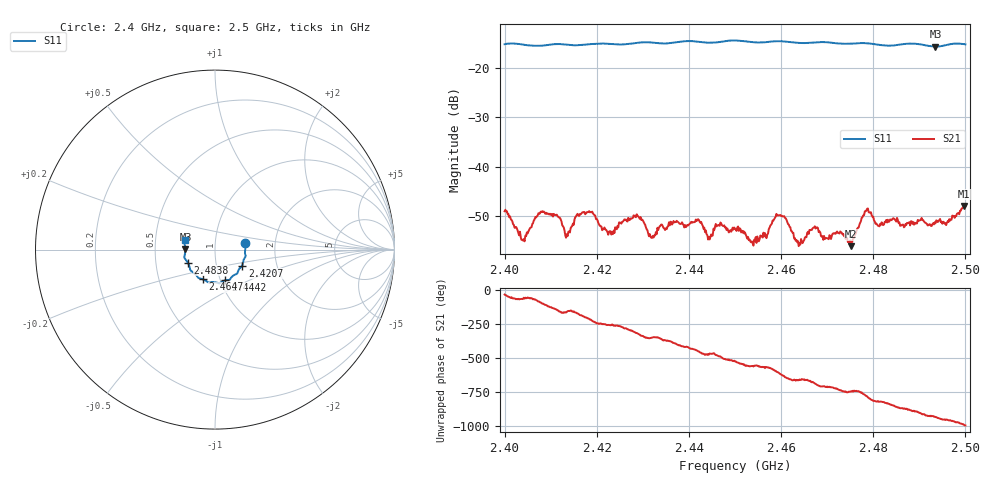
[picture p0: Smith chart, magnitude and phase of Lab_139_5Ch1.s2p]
# Hz S RI R 50
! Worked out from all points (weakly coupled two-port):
!   601 points, 2.4 GHz to 2.5 GHz, reference 50 ohm
!   highest |S21| = -47.98 dB at 2.4997 GHz (marker M1); lowest = -56.1 dB at 2.4752 GHz (marker M2)
!   lowest |S11| = -15.7 dB at 2.4935 GHz (marker M3), VSWR 1.39, Z = 35.9 + j0.135 ohm
!   |S11| at or under -10 dB: start of sweep to end of sweep
!   S12 and S22 are empty: the file has one direction only
!   S11 on the Smith chart (normalised r, x): 2.4 GHz: 1.40, +0.11; 2.4207 GHz: 1.33, -0.24; 2.4442 GHz: 1.06, -0.37; 2.4647 GHz: 0.83, -0.28; 2.4838 GHz: 0.73, -0.11; 2.5 GHz: 0.71, +0.08
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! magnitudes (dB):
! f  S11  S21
! 2.4 GHz  -15.2  -49.0
! 2.404 GHz  -15.3  -55.0
! 2.4078 GHz  -15.5  -49.1
! 2.4137 GHz  -15.3  -54.1
! 2.4167 GHz  -15.3  -49.5
! 2.4207 GHz  -15.1  -52.0
! 2.4285 GHz  -14.9  -50.3
! 2.4333 GHz  -15.0  -52.8
! 2.4418 GHz  -14.7  -50.8
! 2.4442 GHz  -14.9  -54.8
! 2.45 GHz  -14.4  -52.5
! 2.4538 GHz  -14.8  -55.5
! 2.4595 GHz  -14.6  -49.9
! 2.4647 GHz  -15.0  -55.5
! 2.4667 GHz  -14.9  -52.8
! 2.4752 GHz  -15.1  -56.1
! 2.4785 GHz  -15.0  -49.0
! 2.4833 GHz  -15.5  -51.2
! 2.4838 GHz  -15.5  -50.7
! 2.4935 GHz  -15.7  -51.5
! 2.4997 GHz  -15.2  -48.0
! 2.5 GHz  -15.2  -48.0
